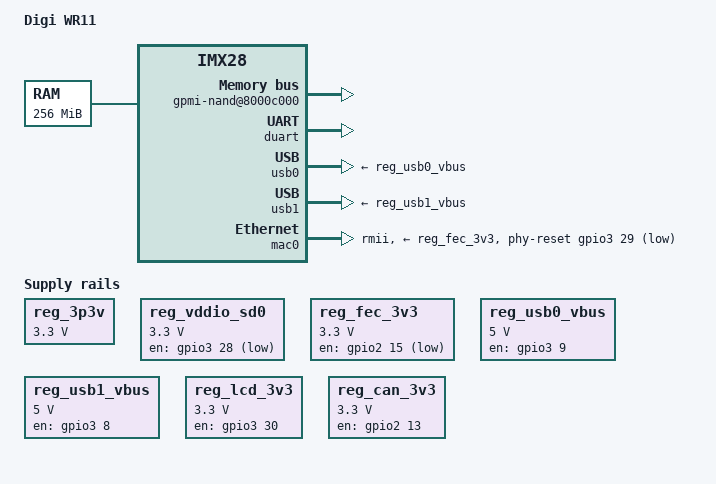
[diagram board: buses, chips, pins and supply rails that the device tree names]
/*
 * Copyright 2012 Freescale Semiconductor, Inc.
 *
 * The code contained herein is licensed under the GNU General Public
 * License. You may obtain a copy of the GNU General Public License
 * Version 2 or later at the following locations:
 *
 * http://www.opensource.org/licenses/gpl-license.html
 * http://www.gnu.org/copyleft/gpl.html
 */

/dts-v1/;
#include "imx28.dtsi"

/ {
	model = "Digi WR11";
	compatible = "digi,wr11", "fsl,imx28";

	memory {
		reg = <0x40000000 0x10000000>;
	};

	apb@80000000 {
		apbh@80000000 {
			gpmi-nand@8000c000 {
				pinctrl-names = "default";
				pinctrl-0 = <&gpmi_pins_a &gpmi_status_cfg>;
				status = "okay";

				partition@0 {
					label="u-boot";
					reg = <0x00000000 0x00300000>;
				};
				partition@1 {
					label="u-boot-env";
					reg = <0x00300000 0x00100000>;
				};
				partition@2 {
					label="log";
					reg = <0x00400000 0x00200000>;
				};
				partition@3 {
					label="flash";
					reg = <0x00600000 0>;
				};
				partition@4 {
					label="all";
					reg = <0x00000000 0>;
				};
			};

			pinctrl@80018000 {
				pinctrl-names = "default";

				led_pin_power_g: led_power_g@0 {
					reg = <0>;
					fsl,pinmux-ids = <
						MX28_PAD_PWM0__GPIO_3_16
					>;
					fsl,drive-strength = <MXS_DRIVE_4mA>;
					fsl,voltage = <MXS_VOLTAGE_HIGH>;
					fsl,pull-up = <MXS_PULL_DISABLE>;
				};

				led_pin_net_g: led_net_g@0 {
					reg = <0>;
					fsl,pinmux-ids = <
						MX28_PAD_GPMI_CE1N__GPIO_0_17
					>;
					fsl,drive-strength = <MXS_DRIVE_4mA>;
					fsl,voltage = <MXS_VOLTAGE_HIGH>;
					fsl,pull-up = <MXS_PULL_DISABLE>;
				};

				led_pin_net_y: led_net_y@0 {
					reg = <0>;
					fsl,pinmux-ids = <
						MX28_PAD_GPMI_RDY1__GPIO_0_21
					>;
					fsl,drive-strength = <MXS_DRIVE_4mA>;
					fsl,voltage = <MXS_VOLTAGE_HIGH>;
					fsl,pull-up = <MXS_PULL_DISABLE>;
				};
			};
		};

		apbx@80040000 {
			duart: serial@80074000 {
				pinctrl-names = "default";
				pinctrl-0 = <&duart_pins_c>;
				status = "okay";
			};

			usbphy0: usbphy@8007c000 {
				status = "okay";
			};

			usbphy1: usbphy@8007e000 {
				status = "okay";
			};
		};
	};

	ahb@80080000 {
		usb0: usb@80080000 {
			pinctrl-names = "default";
			pinctrl-0 = <&usb0_id_pins_a>;
			vbus-supply = <&reg_usb0_vbus>;
			status = "okay";
		};

		usb1: usb@80090000 {
			vbus-supply = <&reg_usb1_vbus>;
			status = "okay";
		};

		mac0: ethernet@800f0000 {
			phy-mode = "rmii";
			pinctrl-names = "default";
			pinctrl-0 = <&mac0_pins_a>;
			phy-supply = <&reg_fec_3v3>;
			phy-reset-gpios = <&gpio3 29 0>;
			phy-reset-duration = <100>;
			status = "okay";
		};
	};

	regulators {
		compatible = "simple-bus";
		#address-cells = <1>;
		#size-cells = <0>;

		reg_3p3v: regulator@0 {
			compatible = "regulator-fixed";
			reg = <0>;
			regulator-name = "3P3V";
			regulator-min-microvolt = <3300000>;
			regulator-max-microvolt = <3300000>;
			regulator-always-on;
		};

		reg_vddio_sd0: regulator@1 {
			compatible = "regulator-fixed";
			reg = <1>;
			regulator-name = "vddio-sd0";
			regulator-min-microvolt = <3300000>;
			regulator-max-microvolt = <3300000>;
			gpio = <&gpio3 28 0>;
		};

		reg_fec_3v3: regulator@2 {
			compatible = "regulator-fixed";
			reg = <2>;
			regulator-name = "fec-3v3";
			regulator-min-microvolt = <3300000>;
			regulator-max-microvolt = <3300000>;
			gpio = <&gpio2 15 0>;
		};

		reg_usb0_vbus: regulator@3 {
			compatible = "regulator-fixed";
			reg = <3>;
			regulator-name = "usb0_vbus";
			regulator-min-microvolt = <5000000>;
			regulator-max-microvolt = <5000000>;
			gpio = <&gpio3 9 0>;
			enable-active-high;
		};

		reg_usb1_vbus: regulator@4 {
			compatible = "regulator-fixed";
			reg = <4>;
			regulator-name = "usb1_vbus";
			regulator-min-microvolt = <5000000>;
			regulator-max-microvolt = <5000000>;
			gpio = <&gpio3 8 0>;
			enable-active-high;
		};

		reg_lcd_3v3: regulator@5 {
			compatible = "regulator-fixed";
			reg = <5>;
			regulator-name = "lcd-3v3";
			regulator-min-microvolt = <3300000>;
			regulator-max-microvolt = <3300000>;
			gpio = <&gpio3 30 0>;
			enable-active-high;
		};

		reg_can_3v3: regulator@6 {
			compatible = "regulator-fixed";
			reg = <6>;
			regulator-name = "can-3v3";
			regulator-min-microvolt = <3300000>;
			regulator-max-microvolt = <3300000>;
			gpio = <&gpio2 13 0>;
			enable-active-high;
		};

	};

	leds {
		compatible = "gpio-leds";
		pinctrl-names = "default";
		pinctrl-0 = <&led_pin_power_g &led_pin_net_g &led_pin_net_y>;
	};
};
